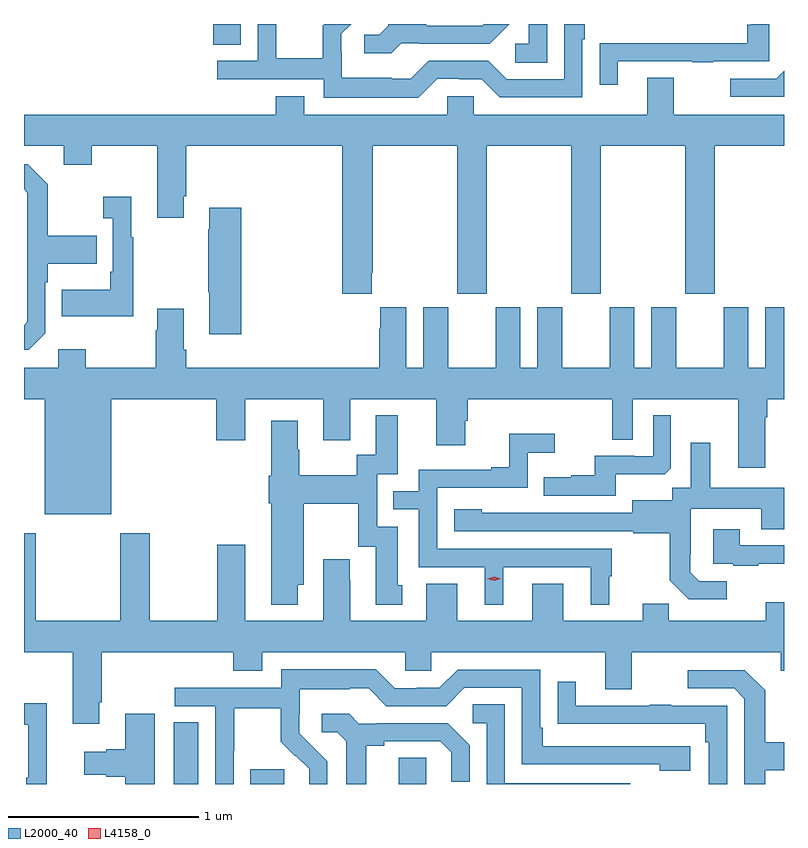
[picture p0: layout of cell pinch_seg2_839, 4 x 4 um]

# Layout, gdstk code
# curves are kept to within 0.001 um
import gdstk
lib = gdstk.Library(unit=1e-6, precision=1e-09)
def R(c, l, rs):  # rectangles x0, y0, x1, y1
    for r in rs: c.add(gdstk.rectangle(r[:2], r[2:], *l))
def P(c, l, *ps):  # polygons
    for p in ps: c.add(gdstk.Polygon(p, *l))
L2000_40 = (2000, 40)
L4158_0 = (4158, 0)

pinch_seg2_839 = lib.new_cell('pinch_seg2_839')
R(pinch_seg2_839, L2000_40, [(621.794,625.63,621.925,625.955), (622.199,625.63,622.378,625.707), (622.979,625.63,623.124,625.769), (622.004,629.521,622.147,629.63)])
P(pinch_seg2_839, L2000_40, [(623.76,629.63),(623.664,629.63),(623.664,629.526),(623.592,629.526),(623.592,629.425),(623.76,629.425)],
  [(624.133,629.433),(624.523,629.433),(624.523,629.428),(624.635,629.428),(624.635,629.433),(624.93,629.433),(624.93,629.63),(624.834,629.63),(624.834,629.626),(624.814,629.626),(624.814,629.529),(624.139,629.529),(624.139,629.528),(624.037,629.528),(624.037,629.31),(624.133,629.31)],
  [(623.181,629.343),(623.297,629.343),(623.297,629.34),(623.415,629.34),(623.511,629.244),(623.946,629.244),(623.946,629.549),(623.959,629.549),(623.959,629.63),(623.85,629.63),(623.85,629.34),(623.547,629.34),(623.451,629.436),(623.136,629.436),(623.043,629.343),(622.943,629.343),(622.943,629.347),(622.68,629.347),(622.68,629.481),(622.678,629.481),(622.678,629.578),(622.73,629.63),(622.586,629.63),(622.579,629.623),(622.579,629.449),(622.335,629.449),(622.335,629.63),(622.236,629.63),(622.236,629.436),(622.023,629.436),(622.023,629.34),(622.584,629.34),(622.584,629.243),(623.081,629.243)],
  [(622.992,629.529),(623.086,629.529),(623.086,629.526),(623.458,629.526),(623.562,629.63),(623.428,629.63),(623.42,629.622),(623.125,629.622),(623.125,629.63),(622.925,629.63),(622.925,629.621),(622.878,629.574),(622.797,629.574),(622.797,629.477),(622.94,629.477)],
  [(625.007,629.384),(624.966,629.343),(624.723,629.343),(624.723,629.247),(625.007,629.247)],
  [(622.837,628.321),(622.842,628.321),(622.842,628.988),(623.287,628.988),(623.287,628.209),(623.442,628.209),(623.442,628.988),(623.887,628.988),(623.887,628.209),(624.042,628.209),(624.042,628.988),(624.487,628.988),(624.487,628.209),(624.642,628.209),(624.642,628.988),(625.007,628.988),(625.007,629.152),(624.427,629.152),(624.427,629.347),(624.287,629.347),(624.287,629.152),(623.373,629.152),(623.373,629.25),(623.235,629.25),(623.235,629.152),(622.483,629.152),(622.483,629.251),(622.331,629.251),(622.331,629.152),(621.007,629.152),(621.007,628.988),(621.215,628.988),(621.215,628.889),(621.363,628.889),(621.363,628.988),(621.707,628.988),(621.707,628.611),(621.847,628.611),(621.847,628.723),(621.86,628.723),(621.86,628.988),(622.682,628.988),(622.682,628.209),(622.837,628.209)],
  [(621.12,628.002),(621.12,628.271),(621.133,628.271),(621.133,628.367),(621.389,628.367),(621.389,628.515),(621.133,628.515),(621.133,628.787),(621.027,628.893),(621.007,628.893),(621.007,628.76),(621.024,628.743),(621.024,628.062),(621.007,628.045),(621.007,627.915),(621.033,627.915)],
  [(621.583,628.507),(621.571,628.507),(621.571,628.72),(621.423,628.72),(621.423,628.607),(621.474,628.607),(621.474,628.327),(621.462,628.327),(621.462,628.231),(621.205,628.231),(621.205,628.091),(621.583,628.091)],
  [(622.151,628.663),(621.983,628.663),(621.983,628.55),(621.976,628.55),(621.976,628.219),(621.983,628.219),(621.983,627.996),(622.151,627.996)],
  [(621.466,627.656),(622.019,627.656),(622.019,627.438),(622.171,627.438),(622.171,627.656),(622.583,627.656),(622.583,627.438),(622.723,627.438),(622.723,627.656),(623.177,627.656),(623.177,627.414),(623.329,627.414),(623.329,627.543),(623.342,627.543),(623.342,627.656),(624.102,627.656),(624.102,627.442),(624.21,627.442),(624.21,627.656),(624.767,627.656),(624.767,627.294),(624.907,627.294),(624.907,627.56),(624.92,627.56),(624.92,627.656),(625.007,627.656),(625.007,628.138),(624.908,628.138),(624.908,627.82),(624.82,627.82),(624.82,628.138),(624.689,628.138),(624.689,627.82),(624.439,627.82),(624.439,628.138),(624.308,628.138),(624.308,627.82),(624.22,627.82),(624.22,628.138),(624.089,628.138),(624.089,627.82),(623.839,627.82),(623.839,628.138),(623.708,628.138),(623.708,627.82),(623.62,627.82),(623.62,628.138),(623.489,628.138),(623.489,627.82),(623.239,627.82),(623.239,628.138),(623.108,628.138),(623.108,627.82),(623.02,627.82),(623.02,628.138),(622.883,628.138),(622.883,628.025),(622.877,628.025),(622.877,627.82),(621.86,627.82),(621.86,627.916),(621.847,627.916),(621.847,628.132),(621.707,628.132),(621.707,628.019),(621.7,628.019),(621.7,627.82),(621.333,627.82),(621.333,627.919),(621.186,627.919),(621.186,627.82),(621.007,627.82),(621.007,627.656),(621.116,627.656),(621.116,627.05),(621.466,627.05)],
  [(624.121,627.26),(624.379,627.26),(624.411,627.291),(624.411,627.571),(624.318,627.571),(624.318,627.354),(624.218,627.354),(624.218,627.357),(624.011,627.357),(624.011,627.256),(623.887,627.256),(623.887,627.244),(623.743,627.244),(623.743,627.147),(624.121,627.147)],
  [(622.447,626.678),(622.48,626.678),(622.48,627.104),(622.767,627.104),(622.767,626.879),(622.859,626.879),(622.859,626.574),(622.999,626.574),(622.999,626.676),(622.975,626.676),(622.975,626.985),(622.866,626.985),(622.866,627.261),(622.975,627.261),(622.975,627.571),(622.859,627.571),(622.859,627.362),(622.758,627.362),(622.758,627.256),(622.455,627.256),(622.455,627.39),(622.447,627.39),(622.447,627.541),(622.307,627.541),(622.307,627.252),(622.295,627.252),(622.295,627.108),(622.307,627.108),(622.307,626.573),(622.447,626.573)],
  [(623.53,626.772),(623.99,626.772),(623.99,626.573),(624.088,626.573),(624.088,626.724),(624.1,626.724),(624.1,626.868),(623.181,626.868),(623.181,627.189),(623.658,627.189),(623.658,627.374),(623.8,627.374),(623.8,627.473),(623.56,627.473),(623.56,627.298),(623.465,627.298),(623.465,627.285),(623.085,627.285),(623.085,627.171),(622.951,627.171),(622.951,627.075),(623.085,627.075),(623.085,626.772),(623.432,626.772),(623.432,626.573),(623.53,626.573)],
  [(624.706,626.697),(624.561,626.697),(624.514,626.744),(624.514,626.839),(624.516,626.839),(624.516,627.08),(624.887,627.08),(624.887,626.971),(625.007,626.971),(625.007,627.19),(624.619,627.19),(624.619,627.427),(624.515,627.427),(624.515,627.188),(624.42,627.188),(624.42,627.124),(624.209,627.124),(624.209,627.057),(623.415,627.058),(623.415,627.076),(623.271,627.076),(623.271,626.961),(624.213,626.961),(624.213,626.949),(624.405,626.949),(624.405,626.703),(624.505,626.603),(624.706,626.603)],
  [(624.871,626.789),(625.007,626.789),(625.007,626.886),(624.775,626.886),(624.775,626.971),(624.635,626.971),(624.635,626.79),(624.739,626.79),(624.739,626.778),(624.871,626.778)],
  [(621.403,626.059),(621.416,626.059),(621.416,626.324),(622.109,626.324),(622.109,626.225),(622.261,626.225),(622.261,626.324),(623.013,626.324),(623.013,626.226),(623.151,626.226),(623.151,626.324),(624.065,626.324),(624.065,626.13),(624.205,626.13),(624.205,626.324),(624.989,626.324),(624.989,626.225),(625.007,626.225),(625.007,626.587),(624.911,626.587),(624.911,626.488),(624.401,626.488),(624.401,626.579),(624.263,626.579),(624.263,626.488),(623.845,626.488),(623.845,626.683),(623.681,626.683),(623.681,626.488),(623.287,626.488),(623.287,626.683),(623.123,626.683),(623.123,626.488),(622.723,626.488),(622.723,626.699),(622.721,626.699),(622.721,626.812),(622.583,626.812),(622.583,626.488),(622.171,626.488),(622.171,626.89),(622.024,626.89),(622.024,626.488),(621.669,626.488),(621.669,626.95),(621.514,626.95),(621.514,626.488),(621.069,626.488),(621.069,626.95),(621.007,626.95),(621.007,626.324),(621.263,626.324),(621.263,625.947),(621.403,625.947)],
  [(622.11,625.804),(622.113,625.804),(622.113,626.028),(622.357,626.028),(622.357,625.853),(622.434,625.776),(622.437,625.779),(622.508,625.709),(622.508,625.63),(622.602,625.63),(622.602,625.75),(622.456,625.898),(622.456,625.995),(622.458,625.995),(622.458,626.129),(622.721,626.129),(622.721,626.133),(622.821,626.133),(622.914,626.04),(623.229,626.04),(623.325,626.136),(623.628,626.136),(623.628,625.734),(624.353,625.734),(624.353,625.7),(624.514,625.7),(624.514,625.83),(623.737,625.83),(623.737,625.927),(623.724,625.927),(623.724,626.232),(623.289,626.232),(623.193,626.136),(623.075,626.136),(623.075,626.133),(622.959,626.133),(622.859,626.233),(622.362,626.233),(622.362,626.136),(621.801,626.136),(621.801,626.04),(622.014,626.04),(622.014,625.63),(622.11,625.63)],
  [(624.907,625.703),(625.007,625.703),(625.007,625.851),(624.907,625.851),(624.907,626.123),(624.801,626.229),(624.501,626.229),(624.501,626.133),(624.744,626.133),(624.798,626.079),(624.798,625.63),(624.907,625.63)],
  [(624.708,626.043),(624.413,626.043),(624.413,626.048),(624.301,626.048),(624.301,626.043),(623.911,626.043),(623.911,626.167),(623.815,626.167),(623.815,625.948),(623.917,625.948),(623.917,625.947),(624.592,625.947),(624.592,625.85),(624.612,625.85),(624.612,625.63),(624.708,625.63)],
  [(621.128,626.056),(621.007,626.056),(621.007,625.943),(621.03,625.943),(621.03,625.663),(621.018,625.663),(621.018,625.63),(621.128,625.63)],
  [(624.197,625.635),(623.538,625.635),(623.538,626.051),(623.37,626.051),(623.37,625.95),(623.442,625.95),(623.442,625.63),(624.197,625.63)],
  [(621.694,625.999),(621.539,625.999),(621.539,625.814),(621.44,625.814),(621.44,625.801),(621.324,625.801),(621.324,625.679),(621.44,625.679),(621.44,625.667),(621.539,625.667),(621.539,625.63),(621.694,625.63)],
  [(622.807,625.832),(622.903,625.832),(622.903,625.854),(623.198,625.854),(623.255,625.797),(623.255,625.641),(623.352,625.641),(623.352,625.834),(623.236,625.95),(622.864,625.95),(622.864,625.947),(622.77,625.947),(622.718,625.999),(622.575,625.999),(622.575,625.902),(622.656,625.902),(622.703,625.855),(622.703,625.63),(622.807,625.63)])
P(pinch_seg2_839, L4158_0, [(623.481,626.701),(623.445,626.711),(623.445,626.711),(623.445,626.711),(623.481,626.721),(623.517,626.711),(623.517,626.711),(623.517,626.711)])

lib.write_gds('pinch_seg2_839.gds')
